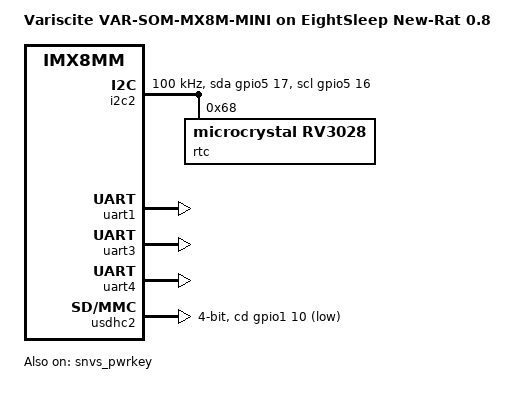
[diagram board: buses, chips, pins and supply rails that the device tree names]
// SPDX-License-Identifier: (GPL-2.0+ OR MIT)
/*
 * Copyright 2019 NXP
 * Copyright 2019-2021 Variscite Ltd.
 * Copyright 2022 Eight Sleep Inc.
 */

#include "imx8mm-var-som.dtsi"

/ {
	model = "Variscite VAR-SOM-MX8M-MINI on EightSleep New-Rat 0.8";

	chosen {
		stdout-path = &uart4;
	};
};

&i2c2 {

	clock-frequency = <100000>;
	pinctrl-names = "default", "gpio";
	pinctrl-0 = <&pinctrl_i2c2>;
	pinctrl-1 = <&pinctrl_i2c2_gpio>;
	scl-gpios = <&gpio5 16 GPIO_ACTIVE_HIGH>;
	sda-gpios = <&gpio5 17 GPIO_ACTIVE_HIGH>;
	status = "okay";

        // todo? two EEPROMS
        // todo? LED driver

        // RTC: Micro Crystal AG RV-3028-C7 32.768KHZ 1PPM-TA-QC
        //
        // - our rtc is only documented in trival-rtc.yaml; using the
        // same register as symphony's dallas rtc - no idea if that's right
        rtc@68 {
		compatible = "microcrystal,rv3028";
		reg = <0x68>;
		status = "okay";
	};


        // todo? GPIO-expander: PCAL6416AHF,128
        /* symphony-gpio left as an example:
	pca9534: gpio@20 {
		compatible = "nxp,pca9534";
		reg = <0x20>;
		gpio-controller;
		pinctrl-names = "default";
		pinctrl-0 = <&pinctrl_pca9534>;
		interrupt-parent = <&gpio1>;
		interrupts = <7 IRQ_TYPE_EDGE_FALLING>;
		#gpio-cells = <2>;
		wakeup-source;

		usb3_sel_hog {
			gpio-hog;
			gpios = <4 GPIO_ACTIVE_HIGH>;
			output-low;
			line-name = "usb3_sel";
		};

		enet_rst_hog {
			gpio-hog;
			gpios = <5 GPIO_ACTIVE_HIGH>;
			output-low;
			line-name = "enet_rst";
		};

		som_vsel_hog {
			gpio-hog;
			gpios = <6 GPIO_ACTIVE_HIGH>;
			output-low;
			line-name = "som_vsel";
		};

		enet_sel_hog {
			gpio-hog;
			gpios = <7 GPIO_ACTIVE_HIGH>;
			output-low;
			line-name = "enet_sel";
		};
	};
        */

};

/* Sensor-board */
&uart1 {
	pinctrl-names = "default";
	pinctrl-0 = <&pinctrl_uart1>;
	status = "okay";
};

// uart2 is for Bluetooth

/* Frozen */
&uart3 {
	pinctrl-names = "default";
	pinctrl-0 = <&pinctrl_uart3>;
	status = "okay";
};

/* Console */
&uart4 {
	pinctrl-names = "default";
	pinctrl-0 = <&pinctrl_uart4>;
	status = "okay";
};

/* SD */
&usdhc2 {
        // seems to default to a lower speed than u-boot did:
	pinctrl-names = "default", "state_100mhz", "state_200mhz";
	pinctrl-0 = <&pinctrl_usdhc2>, <&pinctrl_usdhc2_gpio>;
	pinctrl-1 = <&pinctrl_usdhc2_100mhz>, <&pinctrl_usdhc2_gpio>;
	pinctrl-2 = <&pinctrl_usdhc2_200mhz>, <&pinctrl_usdhc2_gpio>;
	cd-gpios = <&gpio1 10 GPIO_ACTIVE_LOW>;
	bus-width = <4>;
	status = "okay";
};

&snvs_pwrkey {
	status = "okay";
};

&snvs_rtc {
	status = "disabled";
};


&iomuxc {

        // The i2c bus we use for gpio, rtc, etc:
        // our docs say scl is on 88 and sda on 87; I think this matches
        // the defaults (though sda and scl are swapped; I imagine that's a
        // normal perspective-swap, like rx and tx)
        pinctrl_i2c2: i2c2grp {
		fsl,pins = <
			MX8MM_IOMUXC_I2C2_SCL_I2C2_SCL			0x400001c3
			MX8MM_IOMUXC_I2C2_SDA_I2C2_SDA			0x400001c3
		>;
	};

	pinctrl_i2c2_gpio: i2c2grp-gpio {
		fsl,pins = <
			MX8MM_IOMUXC_I2C2_SCL_GPIO5_IO16		0x1c3
			MX8MM_IOMUXC_I2C2_SDA_GPIO5_IO17		0x1c3
		>;
	};

    // Sensor UART1: RX pin 23, TX pin 22
	pinctrl_uart1: uart1grp {
		fsl,pins = <
            MX8MM_IOMUXC_SAI2_RXC_UART1_DCE_RX		0x3
            MX8MM_IOMUXC_SAI2_RXFS_UART1_DCE_TX		0x140
		>;
	};

    // Frozen UART3: RX pin 45, TX pin 55
	pinctrl_uart3: uart3grp {
		fsl,pins = <
            MX8MM_IOMUXC_UART3_RXD_UART3_DCE_RX             0x2
            MX8MM_IOMUXC_ECSPI1_MOSI_UART3_DCE_TX           0x140
		>;
	};

    // Debug Console: Default pins (84, 85?)
	pinctrl_uart4: uart4grp {
		fsl,pins = <
		        MX8MM_IOMUXC_UART4_RXD_UART4_DCE_RX		0x140
		        MX8MM_IOMUXC_UART4_TXD_UART4_DCE_TX		0x140
		>;
	};

	pinctrl_usdhc2_gpio: usdhc2grpgpio {
		fsl,pins = <
			MX8MM_IOMUXC_GPIO1_IO10_GPIO1_IO10		0xc1
		>;
	};

	pinctrl_usdhc2: usdhc2grp {
		fsl,pins = <
			MX8MM_IOMUXC_SD2_CLK_USDHC2_CLK			0x190
			MX8MM_IOMUXC_SD2_CMD_USDHC2_CMD			0x1d0
			MX8MM_IOMUXC_SD2_DATA0_USDHC2_DATA0		0x1d0
			MX8MM_IOMUXC_SD2_DATA1_USDHC2_DATA1		0x1d0
			MX8MM_IOMUXC_SD2_DATA2_USDHC2_DATA2		0x1d0
			MX8MM_IOMUXC_SD2_DATA3_USDHC2_DATA3		0x1d0
			MX8MM_IOMUXC_GPIO1_IO04_USDHC2_VSELECT		0x1d0
		>;
	};

	pinctrl_usdhc2_100mhz: usdhc2grp100mhz {
		fsl,pins = <
			MX8MM_IOMUXC_SD2_CLK_USDHC2_CLK			0x194
			MX8MM_IOMUXC_SD2_CMD_USDHC2_CMD			0x1d4
			MX8MM_IOMUXC_SD2_DATA0_USDHC2_DATA0		0x1d4
			MX8MM_IOMUXC_SD2_DATA1_USDHC2_DATA1		0x1d4
			MX8MM_IOMUXC_SD2_DATA2_USDHC2_DATA2		0x1d4
			MX8MM_IOMUXC_SD2_DATA3_USDHC2_DATA3		0x1d4
			MX8MM_IOMUXC_GPIO1_IO04_USDHC2_VSELECT		0x1d0
		>;
	};

	pinctrl_usdhc2_200mhz: usdhc2grp200mhz {
		fsl,pins = <
			MX8MM_IOMUXC_SD2_CLK_USDHC2_CLK			0x196
			MX8MM_IOMUXC_SD2_CMD_USDHC2_CMD			0x1d6
			MX8MM_IOMUXC_SD2_DATA0_USDHC2_DATA0		0x1d6
			MX8MM_IOMUXC_SD2_DATA1_USDHC2_DATA1		0x1d6
			MX8MM_IOMUXC_SD2_DATA2_USDHC2_DATA2		0x1d6
			MX8MM_IOMUXC_SD2_DATA3_USDHC2_DATA3		0x1d6
			MX8MM_IOMUXC_GPIO1_IO04_USDHC2_VSELECT		0x1d0
		>;
	};
/*
        pinctrl_usbotg2: usbotg2grp {
		fsl,pins = <
			MX8MM_IOMUXC_SAI3_TXD_GPIO5_IO1			0x16
		>;
	};

	pinctrl_usbotg2_sleep: usbotg2grpsleep {
		fsl,pins = <
			MX8MM_IOMUXC_SAI3_TXD_GPIO5_IO1			0x120
		>;
	};
*/

};
